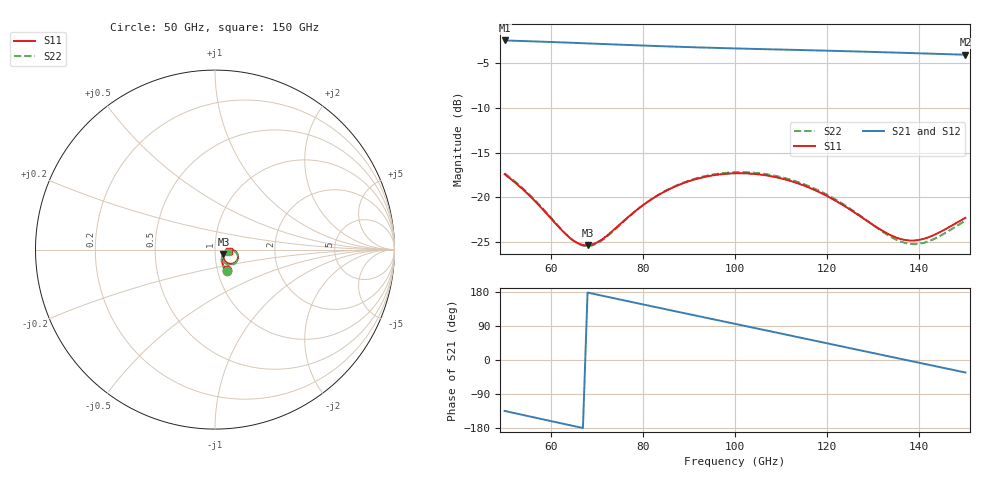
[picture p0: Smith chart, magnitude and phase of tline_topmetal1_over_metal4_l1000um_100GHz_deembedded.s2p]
! Created with skrf 2.2.0 (http://scikit-rf.org).
# GHz S DB R 50.0
! Port[1] = P1
! Port[2] = P2
!freq dBS11 angS11 dBS21 angS21 dBS12 angS12 dBS22 angS22
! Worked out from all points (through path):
!   101 points, 50 GHz to 150 GHz, reference 50 ohm
!   highest |S21| = -2.48 dB at 50 GHz (marker M1); lowest = -4.1 dB at 150 GHz (marker M2)
!   group delay of S21, straight-line fit = 7.16 ps
!   lowest |S11| = -25.4 dB at 68 GHz (marker M3), VSWR 1.11, Z = 54.9 - j2.85 ohm
!   |S11| at or under -10 dB: start of sweep to end of sweep
!   |S22| runs from -25.4 to -17.2 dB; largest |S21 - S12| = 8.6e-14
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50  -17.42 -59.7  -2.48 -134.4  -2.48 -134.4  -17.33 -60.8
55  -19.60 -62.5  -2.56 -147.7  -2.56 -147.7  -19.50 -64.0
59  -21.74 -60.6  -2.63 -158.4  -2.63 -158.4  -21.65 -62.4
64  -24.45 -47.9  -2.73 -171.6  -2.73 -171.6  -24.44 -50.2
67  -25.32 -33.8  -2.79 -179.4  -2.79 -179.4  -25.38 -36.1
68  -25.36 -28.7  -2.81 177.9  -2.81 177.9  -25.44 -30.9
71  -24.74 -14.9  -2.87 170.1  -2.87 170.1  -24.84 -16.6
76  -22.56 -2.7  -2.97 157.1  -2.97 157.1  -22.61 -4.0
84  -19.55 -2.6  -3.12 136.4  -3.12 136.4  -19.52 -4.0
92  -17.89 -11.3  -3.25 115.9  -3.25 115.9  -17.81 -13.0
100  -17.31 -22.6  -3.37 95.4  -3.37 95.4  -17.20 -24.7
104  -17.37 -28.4  -3.42 85.2  -3.42 85.2  -17.24 -30.8
108  -17.65 -34.1  -3.47 74.9  -3.47 74.9  -17.51 -36.8
112  -18.16 -39.3  -3.52 64.6  -3.52 64.6  -18.01 -42.4
117  -19.11 -44.8  -3.58 51.8  -3.58 51.8  -18.96 -48.4
122  -20.42 -48.3  -3.65 38.9  -3.65 38.9  -20.29 -52.5
126  -21.70 -48.6  -3.70 28.6  -3.70 28.6  -21.61 -53.4
134  -24.27 -38.3  -3.82 8.0  -3.82 8.0  -24.45 -44.1
138  -24.82 -27.5  -3.88 -2.3  -3.88 -2.3  -25.19 -32.7
141  -24.62 -19.1  -3.93 -9.9  -3.93 -9.9  -25.07 -23.4
145  -23.73 -10.8  -3.99 -20.2  -3.99 -20.2  -24.16 -14.0
150  -22.28 -6.2  -4.07 -32.9  -4.07 -32.9  -22.59 -8.7
